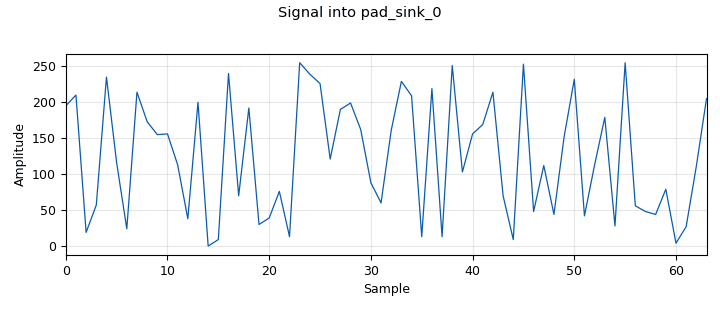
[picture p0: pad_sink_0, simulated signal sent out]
options:
  parameters:
    author: Homero Ortega Boada. Universidad Industrial de Santader
    category: '''[comdiguis]'''
    copyright: Grupo RadioGis Universidad Industrial de Santander
    description: This is a binary random generator with output of type float
    generate_options: hb
    id: b_binary_rand_source_b
    output_language: python
    title: b_binary_rand_source_b
  states: {}

blocks:
- name: samp_rate
  id: variable
  parameters:
    value: '32000'
  states: {state: disabled}
- name: analog_random_source_x_0
  id: analog_random_source_x
  parameters:
    max: '2'
    min: '0'
    num_samps: '10000000'
    repeat: 'True'
    type: byte
  states: {}
- name: blocks_pack_k_bits_bb_0_0_0
  id: blocks_pack_k_bits_bb
  parameters:
    k: '8'
  states: {}
- name: pad_sink_0
  id: pad_sink
  parameters:
    label: out
    type: byte
  states: {}

connections:
- [analog_random_source_x_0, '0', blocks_pack_k_bits_bb_0_0_0, '0']
- [blocks_pack_k_bits_bb_0_0_0, '0', pad_sink_0, '0']

metadata:
  file_format: 1
